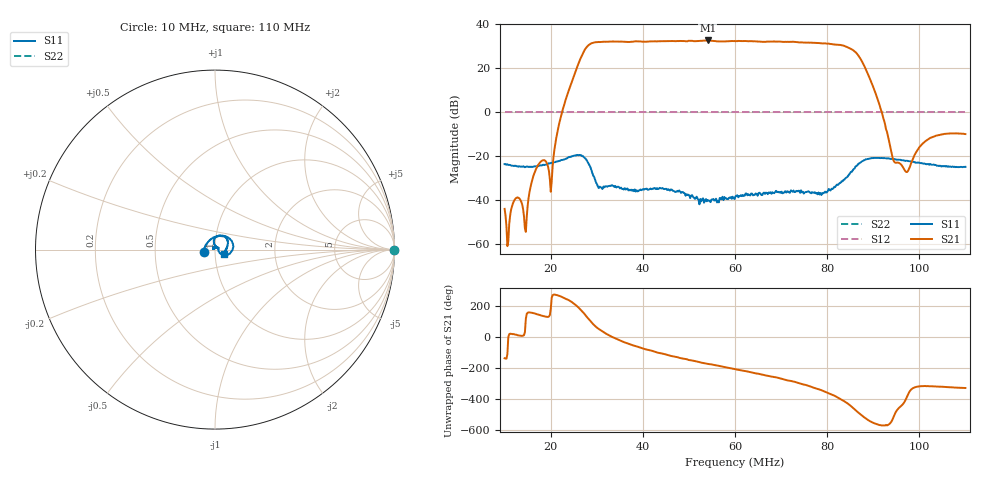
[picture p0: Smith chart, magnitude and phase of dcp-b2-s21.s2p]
! Anritsu VNA Master:  Model: MS2034B/10/19/501
! SN:  1337062
! /bd0/ovro-jan-2016/dcp-b2-s21.s2p
! Existing Calibration Information:
! TYPE:  Current Settings,  Active Cal Settings
! TIME:  01/09/2016 05:35:34 PM,  01/09/2016 12:40:35 PM
! INTERNAL TEMP:  41.8 C,  41.8 C
! # POINTS:  500,  500
! START FREQ:  10.000 MHz,  10.000 MHz
! STOP FREQ:  110.000 MHz,  110.000 MHz
! SOURCE POWER:  Low,  Low
! IFBW:  100 Hz,  100 Hz
! AVG FACTOR:  3 ,  3
! REF PLANE 1:  2.2245 m,  2.2245 m
! REF PLANE 2:  0 mm,  0 mm
! CAL TYPE:  1P2P S11,S21,  1P2P S11,S21
! CAL METHOD:  SOLT,  SOLT
! CAL LINE TYPE:  Coax,  Coax
! DUT PORT 1:  K-Conn(M),  K-Conn(M)
! DUT PORT 2:  N-Conn(M),  N-Conn(M)
! CAL STATUS:  OK: Accuracy High,  --
# GHZ S DB R 50.0
! FREQ.GHZ  S11DB  S11A  S21DB  S21A  S12DB  S12A  S22DB  S22A
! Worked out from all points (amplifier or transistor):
!   500 points, 10 MHz to 110 MHz, reference 50 ohm
!   highest |S21| = 32.7 dB at 54.09 MHz (marker M1)
!   |S21| within 3 dB of that: 27.83 MHz to 84.3 MHz (56.47 MHz wide, 101 % of centre)
!   unconditionally stable (mu >= 1): nowhere
!   at 26.63 MHz: K = 9.17, MSG = 12.6 dB, |S12| = 0.0 dB
!   at 60.1 MHz: K = 20.78, MSG = 16.2 dB, |S12| = 0.0 dB
!   at 110 MHz: K = 0.13, MSG = -5.0 dB, |S12| = 0.0 dB
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0.01  -23.74 -169.1  -44.15 -136.9  0.00 0.0  0.00 0.0
0.02342685  -21.31 58.3  6.82 -114.4  0.00 0.0  0.00 0.0
0.02563126  -19.64 29.6  19.98 -157.2  0.00 0.0  0.00 0.0
0.02683367  -20.02 4.5  26.17 167.0  0.00 0.0  0.00 0.0
0.02783567  -22.06 -20.2  29.72 131.0  0.00 0.0  0.00 0.0
0.02923848  -29.02 -35.7  31.67 83.3  0.00 0.0  0.00 0.0
0.03104208  -34.45 3.1  32.04 40.7  0.00 0.0  0.00 0.0
0.03324649  -33.32 28.8  32.18 2.3  0.00 0.0  0.00 0.0
0.03825651  -35.30 60.2  32.26 -56.6  0.00 0.0  0.00 0.0
0.04346693  -35.00 90.0  32.34 -102.3  0.00 0.0  0.00 0.0
0.04847695  -36.55 98.7  32.46 -138.1  0.00 0.0  0.00 0.0
0.05408818  -40.11 136.2  32.70 -173.4  0.00 0.0  0.00 0.0
0.0601002  -38.50 150.8  32.38 152.1  0.00 0.0  0.00 0.0
0.06951904  -36.59 95.8  32.23 95.2  0.00 0.0  0.00 0.0
0.07292585  -36.50 71.8  31.99 70.9  0.00 0.0  0.00 0.0
0.07673347  -36.48 63.6  31.62 36.1  0.00 0.0  0.00 0.0
0.08074148  -35.74 81.9  31.12 -8.6  0.00 0.0  0.00 0.0
0.0843487  -29.64 97.6  29.66 -67.7  0.00 0.0  0.00 0.0
0.08695391  -23.42 87.9  25.26 -133.4  0.00 0.0  0.00 0.0
0.08915832  -21.20 64.5  15.82 177.6  0.00 0.0  0.00 0.0
0.09336673  -21.06 37.9  -12.56 154.1  0.00 0.0  0.00 0.0
0.11  -24.98 -24.0  -10.02 30.5  0.00 0.0  0.00 0.0
